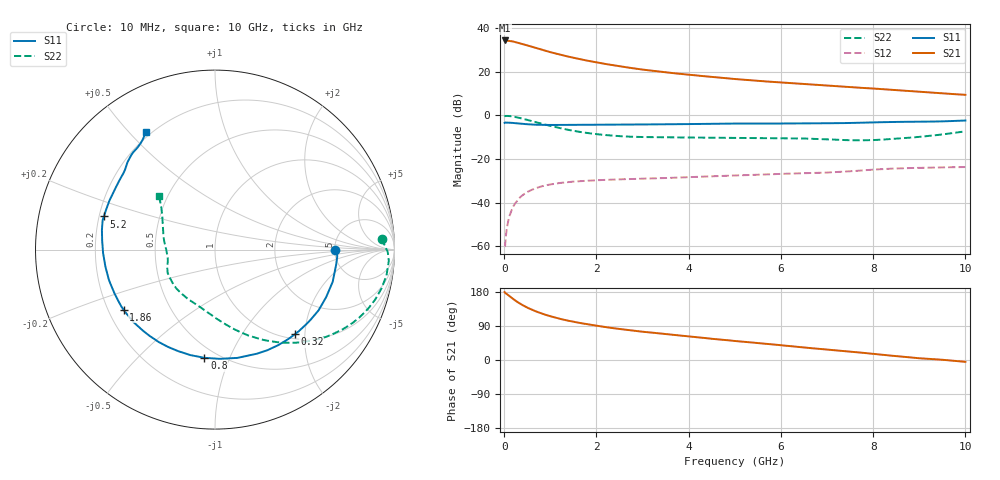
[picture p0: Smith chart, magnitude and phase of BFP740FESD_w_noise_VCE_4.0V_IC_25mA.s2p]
! Infineon Technologies  Discrete & RF Semiconductors
! BFP740FESD
! VCE =  4.0 V,  IC =  25 mA
! Common Emitter S-Parameters:  Jan 2016
# GHz  S  MA  R  50
!  f  S11  S21  S12  S22
! GHz  MAG  ANG  MAG  ANG  MAG  ANG  MAG  ANG
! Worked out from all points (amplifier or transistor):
!   233 points, 10 MHz to 10 GHz, reference 50 ohm
!   highest |S21| = 34.3 dB at 10 MHz (marker M1)
!   |S21| within 3 dB of that: start of sweep to 613.7 MHz
!   unconditionally stable (mu >= 1): 5.442 GHz to end of sweep
!   at 200 MHz: K = 0.17, MSG = 37.8 dB, |S12| = -41.7 dB
!   at 1.74 GHz: K = 0.50, MSG = 27.7 dB, |S12| = -30.1 dB
!   at 10 GHz: K = 1.15, MAG = 14.2 dB, |S12| = -23.7 dB
!   lowest NFmin = 0.89 dB at 450 MHz
!   S11 on the Smith chart (normalised r, x): 10 MHz: 5.07, +0.00; 320 MHz: 1.09, -1.77; 800 MHz: 0.43, -0.81; 1.86 GHz: 0.26, -0.28; 5.2 GHz: 0.22, +0.14; 10 GHz: 0.18, +0.56
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0.01  0.6707 0.0  52.04 179.3  0.001 73.7  0.9306 3.7
0.02  0.6824 -3.0  51.68 177.3  0.001 60.8  0.9627 -0.8
0.1  0.6798 -15.3  51 170.2  0.0043 76.5  0.9664 -8.6
0.15  0.6736 -23.2  50.18 165.2  0.0062 74.2  0.9528 -13.1
0.24  0.6609 -36.1  47.88 157.0  0.0096 70.3  0.917 -20.6
0.32  0.6479 -46.8  45.63 150.6  0.0123 66.6  0.8782 -26.6
0.4  0.6381 -56.7  43.17 144.8  0.0147 62.9  0.8373 -32.1
0.5  0.6252 -68.1  40.1 138.3  0.0174 58.7  0.7857 -38.3
0.6  0.6162 -78.3  37.21 132.5  0.0196 55.0  0.7361 -43.7
0.8  0.6059 -95.6  32.19 123.2  0.0233 48.7  0.6476 -53.3
1  0.6018 -109.9  28.13 115.5  0.026 43.9  0.5729 -61.6
1.2  0.6029 -121.4  24.82 109.0  0.028 40.0  0.5117 -69.0
1.4  0.6043 -130.8  22.05 103.4  0.0295 37.0  0.462 -75.6
1.68  0.6077 -141.3  19.05 96.9  0.0311 34.0  0.4108 -83.6
1.86  0.6099 -146.7  17.43 93.2  0.0318 32.6  0.3863 -88.4
2.58  0.6144 -163.8  12.95 80.5  0.0342 29.3  0.3293 -105.1
3.4  0.6218 -176.7  9.94 69.6  0.0363 28.9  0.3143 -117.7
5.1  0.6466 164.4  6.663 49.2  0.0421 29.6  0.3044 -136.1
5.2  0.6462 163.4  6.534 48.1  0.0424 29.6  0.3038 -137.0
6.8  0.6547 145.9  4.959 29.7  0.0481 29.7  0.2869 -157.6
8.4  0.7033 131.6  3.848 11.4  0.0599 28.3  0.287 170.5
10  0.7605 120.3  2.952 -4.9  0.0652 20.9  0.4296 136.3
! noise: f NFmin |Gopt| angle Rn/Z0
0.45  0.89  0.09  -166  0.08
2.4  0.91  0.13  -166  0.09
5.5  1.07  0.18  -165  0.08
10  1.57  0.39  -118  0.19
